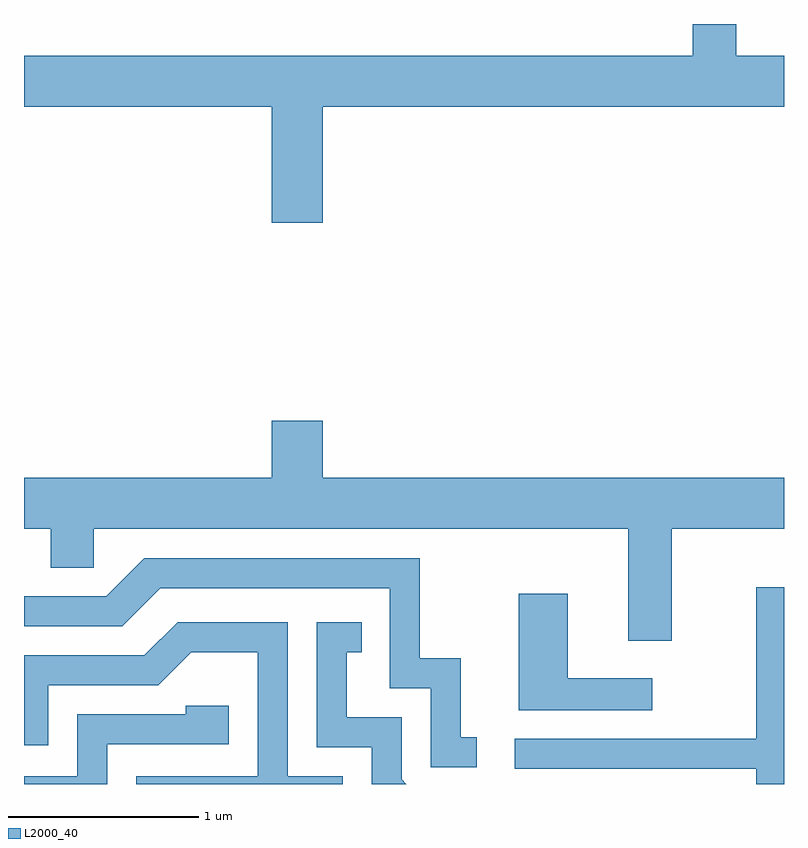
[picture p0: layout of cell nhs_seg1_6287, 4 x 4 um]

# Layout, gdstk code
import gdstk
lib = gdstk.Library(unit=1e-6, precision=1e-09)
def P(c, l, *ps):  # polygons
    for p in ps: c.add(gdstk.Polygon(p, *l))
L2000_40 = (2000, 40)

nhs_seg1_6287 = lib.new_cell('nhs_seg1_6287')
P(nhs_seg1_6287, L2000_40, [(373.611,977.276),(374.916,977.276),(374.916,976.666),(375.184,976.666),(375.184,977.276),(377.611,977.276),(377.611,977.544),(377.359,977.544),(377.359,977.712),(377.131,977.712),(377.131,977.544),(373.611,977.544)],
  [(377.019,975.056),(377.611,975.056),(377.611,975.324),(375.184,975.324),(375.184,975.624),(374.916,975.624),(374.916,975.324),(373.611,975.324),(373.611,975.056),(373.751,975.056),(373.751,974.851),(373.979,974.851),(373.979,975.056),(376.791,975.056),(376.791,974.466),(377.019,974.466)],
  [(375.993,973.959),(375.909,973.959),(375.909,974.374),(375.694,974.374),(375.694,974.899),(374.244,974.899),(374.044,974.699),(373.611,974.699),(373.611,974.541),(374.127,974.541),(374.327,974.741),(375.536,974.741),(375.536,974.216),(375.751,974.216),(375.751,973.801),(375.993,973.801)],
  [(377.611,974.748),(377.466,974.748),(377.466,973.949),(376.193,973.949),(376.193,973.791),(377.466,973.791),(377.466,973.712),(377.611,973.712)],
  [(376.918,974.269),(376.474,974.269),(376.474,974.714),(376.216,974.714),(376.216,974.101),(376.918,974.101)],
  [(375.289,973.754),(374.999,973.754),(374.999,974.564),(374.419,974.564),(374.244,974.389),(373.611,974.389),(373.611,973.916),(373.739,973.916),(373.739,974.231),(374.317,974.231),(374.492,974.406),(374.841,974.406),(374.841,973.754),(374.201,973.754),(374.201,973.712),(375.289,973.712)],
  [(375.599,973.737),(375.599,974.064),(375.309,974.064),(375.309,974.406),(375.388,974.406),(375.388,974.564),(375.151,974.564),(375.151,973.906),(375.441,973.906),(375.441,973.712),(375.624,973.712)],
  [(374.049,973.921),(374.689,973.921),(374.689,974.124),(374.461,974.124),(374.461,974.079),(373.891,974.079),(373.891,973.754),(373.611,973.754),(373.611,973.712),(374.049,973.712)])

lib.write_gds('nhs_seg1_6287.gds')
